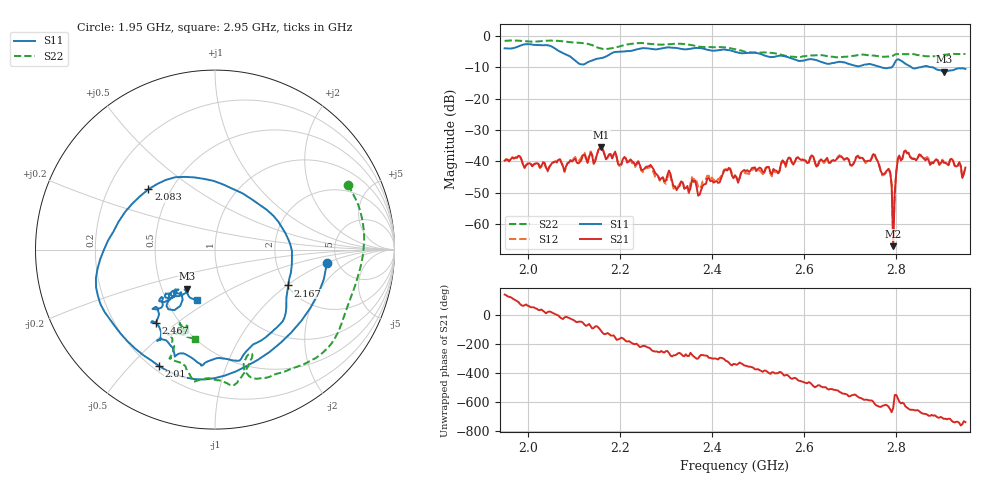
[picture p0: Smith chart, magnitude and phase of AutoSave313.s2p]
!Agilent N9923A: A.07.32
!Date: Thursday, 02 June 2016 23:52:42
!Model: N9923A
!Serial: MY52412257
!GPS Latitude:
!GPS Longitude:
!GPS TimeStamp: 0001-01-01 00:00:00Z
!GPS Seconds Since Last Read: 0
!CHECKSUM:2021149296
!Correction: S11(ON U)S21(ON U)S12(ON U)S22(ON U)
!S2P File: Measurements:S11,S21,S12,S22:
# Hz S DB R 50
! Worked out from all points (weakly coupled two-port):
!   301 points, 1.95 GHz to 2.95 GHz, reference 50 ohm
!   highest |S21| = -35.55 dB at 2.16 GHz (marker M1); lowest = -66.9 dB at 2.793 GHz (marker M2)
!   lowest |S11| = -11.5 dB at 2.903 GHz (marker M3), VSWR 1.73, Z = 33.7 - j15.8 ohm
!   |S11| at or under -10 dB: 2.766 GHz to 2.791 GHz (24.5 MHz wide, 0.882 % of centre); 2.832 GHz to 2.854 GHz (22.17 MHz wide, 0.78 % of centre); 2.873 GHz to end of sweep
!   |S22| runs from -6.9 to -1.5 dB; largest |S21 - S12| = 0.0012
!   S11 on the Smith chart (normalised r, x): 1.95 GHz: 4.12, -1.00; 2.01 GHz: 0.22, -0.61; 2.083 GHz: 0.38, +0.34; 2.167 GHz: 2.03, -1.02; 2.467 GHz: 0.38, -0.42; 2.95 GHz: 0.71, -0.43
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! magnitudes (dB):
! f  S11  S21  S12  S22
! 1.95 GHz  -4.0  -39.7  -39.9  -1.7
! 2.01 GHz  -2.9  -41.5  -41.5  -1.9
! 2.083 GHz  -6.0  -41.5  -41.6  -2.0
! 2.12 GHz  -9.2  -38.0  -37.4  -2.4
! 2.143 GHz  -7.7  -40.8  -40.0  -3.2
! 2.16 GHz  -7.1  -35.6  -35.5  -4.1
! 2.167 GHz  -6.9  -37.7  -37.7  -4.3
! 2.287 GHz  -4.2  -45.8  -46.1  -2.9
! 2.35 GHz  -4.3  -49.7  -50.1  -2.9
! 2.363 GHz  -3.9  -46.1  -45.3  -3.3
! 2.37 GHz  -3.9  -50.9  -48.0  -3.5
! 2.453 GHz  -5.3  -45.0  -45.2  -4.5
! 2.467 GHz  -5.6  -43.1  -43.4  -4.9
! 2.62 GHz  -7.6  -38.5  -38.7  -6.3
! 2.75 GHz  -9.3  -37.7  -37.5  -6.3
! 2.783 GHz  -10.2  -42.3  -42.7  -6.7
! 2.79 GHz  -10.1  -47.4  -47.6  -6.6
! 2.793 GHz  -9.6  -66.9  -64.4  -6.4
! 2.797 GHz  -8.7  -50.0  -50.3  -6.1
! 2.807 GHz  -7.7  -38.1  -38.1  -5.9
! 2.903 GHz  -11.5  -40.4  -40.1  -6.1
! 2.95 GHz  -10.6  -42.0  -42.0  -5.8
